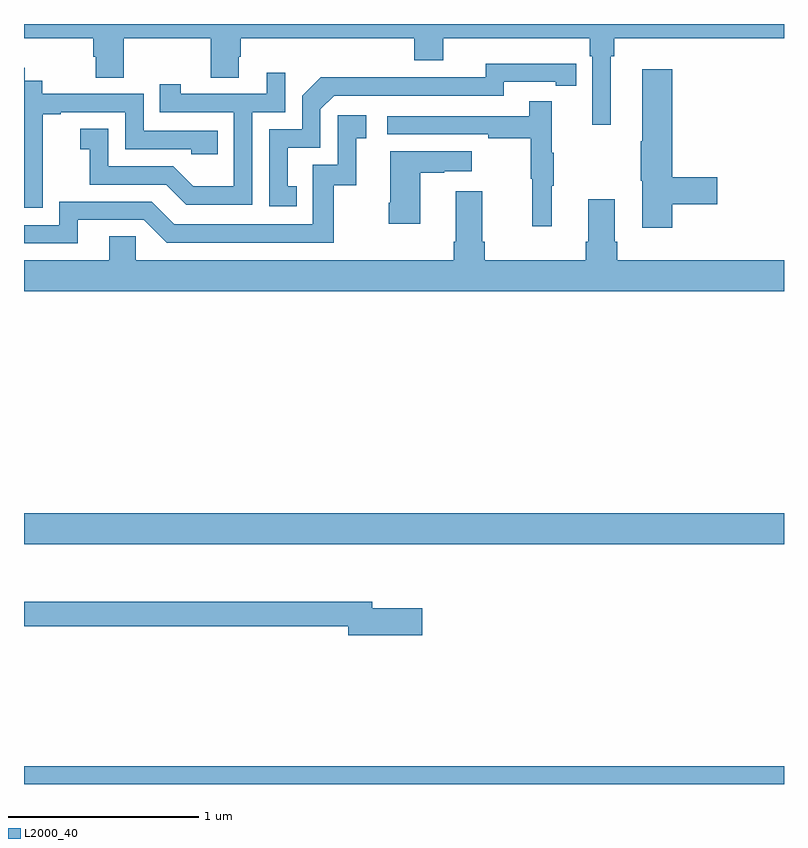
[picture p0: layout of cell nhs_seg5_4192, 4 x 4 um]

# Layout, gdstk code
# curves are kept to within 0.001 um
import gdstk
lib = gdstk.Library(unit=1e-6, precision=1e-09)
def R(c, l, rs):  # rectangles x0, y0, x1, y1
    for r in rs: c.add(gdstk.rectangle(r[:2], r[2:], *l))
def P(c, l, *ps):  # polygons
    for p in ps: c.add(gdstk.Polygon(p, *l))
L2000_40 = (2000, 40)

nhs_seg5_4192 = lib.new_cell('nhs_seg5_4192')
R(nhs_seg5_4192, L2000_40, [(357,888.799,361,888.892), (357,890.06,361,890.224)])
P(nhs_seg5_4192, L2000_40, [(361,892.799),(357,892.799),(357,892.724),(357.365,892.724),(357.365,892.626),(357.377,892.626),(357.377,892.516),(357.525,892.516),(357.525,892.724),(357.982,892.724),(357.982,892.516),(358.129,892.516),(358.129,892.626),(358.142,892.626),(358.142,892.724),(359.054,892.724),(359.054,892.607),(359.206,892.607),(359.206,892.724),(359.978,892.724),(359.978,892.628),(359.991,892.628),(359.991,892.269),(360.088,892.269),(360.088,892.628),(360.107,892.628),(360.107,892.724),(361,892.724)],
  [(358.436,891.945),(358.387,891.945),(358.387,892.149),(358.56,892.149),(358.56,892.35),(358.632,892.422),(359.526,892.422),(359.526,892.494),(359.798,892.494),(359.798,892.474),(359.906,892.474),(359.906,892.59),(359.43,892.591),(359.43,892.518),(358.97,892.518),(358.97,892.52),(358.562,892.52),(358.464,892.422),(358.464,892.245),(358.29,892.245),(358.29,891.84),(358.436,891.84)],
  [(357.099,892.039),(357.098,892.039),(357.098,892.323),(357.193,892.323),(357.193,892.335),(357.534,892.335),(357.534,892.14),(357.879,892.14),(357.879,892.113),(358.019,892.113),(358.019,892.236),(357.63,892.236),(357.63,892.431),(357.096,892.431),(357.096,892.5),(357.004,892.5),(357.004,892.57),(357,892.57),(357,891.833),(357.099,891.833)],
  [(360.413,891.85),(360.649,891.85),(360.649,891.992),(360.413,891.992),(360.413,892.561),(360.254,892.561),(360.254,892.181),(360.247,892.181),(360.247,891.975),(360.254,891.975),(360.254,891.726),(360.413,891.726)],
  [(358.2,892.335),(358.374,892.335),(358.374,892.543),(358.277,892.543),(358.277,892.431),(357.826,892.431),(357.826,892.483),(357.715,892.483),(357.715,892.335),(358.104,892.335),(358.104,891.946),(357.89,891.946),(357.786,892.05),(357.444,892.05),(357.444,892.249),(357.297,892.249),(357.297,892.139),(357.346,892.139),(357.346,891.954),(357.749,891.954),(357.854,891.849),(358.2,891.849)],
  [(359.777,891.947),(359.788,891.947),(359.788,892.121),(359.777,892.121),(359.777,892.393),(359.659,892.393),(359.659,892.314),(358.911,892.314),(358.911,892.218),(359.443,892.218),(359.443,892.198),(359.667,892.198),(359.667,891.984),(359.674,891.984),(359.674,891.735),(359.777,891.735)],
  [(357.283,891.768),(357.63,891.768),(357.75,891.648),(358.63,891.648),(358.63,891.951),(358.748,891.951),(358.748,892.197),(358.801,892.197),(358.801,892.318),(358.65,892.318),(358.65,892.059),(358.521,892.059),(358.521,891.744),(357.792,891.744),(357.672,891.864),(357.186,891.864),(357.186,891.741),(357,891.741),(357,891.645),(357.283,891.645)],
  [(359.086,892.015),(359.213,892.015),(359.213,892.025),(359.356,892.025),(359.356,892.129),(358.928,892.129),(358.928,891.859),(358.921,891.859),(358.921,891.747),(359.086,891.747)],
  [(361,891.556),(360.122,891.556),(360.122,891.652),(360.109,891.652),(360.109,891.877),(359.969,891.877),(359.969,891.652),(359.957,891.652),(359.957,891.556),(359.426,891.556),(359.426,891.652),(359.413,891.652),(359.413,891.919),(359.273,891.919),(359.273,891.652),(359.261,891.652),(359.261,891.556),(357.588,891.556),(357.588,891.683),(357.449,891.683),(357.449,891.556),(357,891.556),(357,891.392),(361,891.392)],
  [(359.095,889.725),(358.834,889.725),(358.834,889.759),(357,889.759),(357,889.63),(358.706,889.63),(358.706,889.583),(359.095,889.583)])

lib.write_gds('nhs_seg5_4192.gds')
